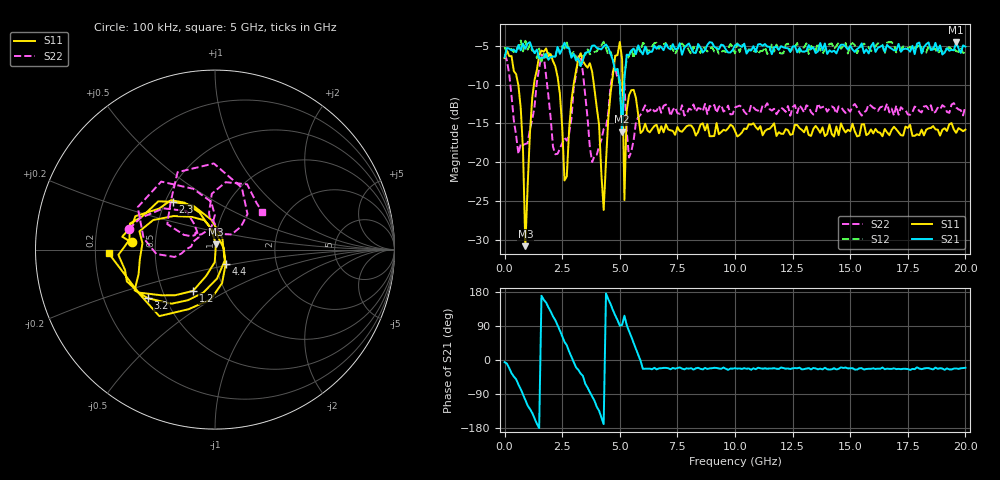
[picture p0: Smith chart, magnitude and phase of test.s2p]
#  HZ  S  RI  R  50.00
! Rohde & Schwarz Vector Network Analyzer
! Rohde-Schwarz,ZNB20-4Port,1311601064100104,2.70
! Created: UTC 10/26/2016, 10:54:18 PM
! freq[Hz]  re:S11  im:S11  re:S21  im:S21  re:S12  im:S12  re:S22  im:S22
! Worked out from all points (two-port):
!   201 points, 100 kHz to 20 GHz, reference 50 ohm
!   highest |S21| = -4.56 dB at 19.6 GHz (marker M1); lowest = -16.0 dB at 5.1 GHz (marker M2)
!   |S21| within 3 dB of the highest: start of sweep to 3.293 GHz; 5.256 GHz to end of sweep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
!   lowest |S11| = -30.7 dB at 900.1 MHz (marker M3), VSWR 1.06, Z = 50.5 + j2.88 ohm
!   |S11| at or under -10 dB: 590.4 MHz to 1.274 GHz (683.7 MHz wide, 73.3 % of centre); 3.874 GHz to 4.648 GHz (773.7 MHz wide, 18.2 % of centre); 5.118 GHz to end of sweep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
!   |S22| runs from -20.0 to -6.1 dB; largest |S21 - S12| = 0.094
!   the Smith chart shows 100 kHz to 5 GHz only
!   S11 on the Smith chart (normalised r, x): 100 kHz: 0.36, +0.04; 1.2 GHz: 0.71, -0.35; 2.3 GHz: 0.55, +0.33; 3.2 GHz: 0.40, -0.28; 4.4 GHz: 1.11, -0.18; 5 GHz: 0.26, -0.02
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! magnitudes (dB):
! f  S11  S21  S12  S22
! 100 kHz  -6.6  -6.5  -5.2  -6.1
! 600.1 MHz  -10.1  -4.9  -5.4  -18.9
! 900.1 MHz  -30.7  -5.4  -4.4  -17.6
! 1.2 GHz  -11.7  -5.4  -5.7  -14.5
! 1.7 GHz  -5.8  -6.5  -6.1  -6.3
! 2.3 GHz  -9.0  -5.2  -5.2  -18.9
! 2.6 GHz  -22.3  -4.6  -5.4  -16.8
! 3.2 GHz  -6.7  -6.6  -7.4  -6.4
! 3.4 GHz  -7.0  -6.8  -6.3  -8.5
! 3.8 GHz  -8.4  -5.0  -6.0  -20.0
! 4.3 GHz  -26.1  -5.1  -4.5  -15.7
! 4.4 GHz  -19.9  -4.9  -5.3  -15.5
! 5 GHz  -4.5  -9.6  -10.3  -9.4
! 5.1 GHz  -6.8  -16.0  -15.1  -10.8
! 5.2 GHz  -24.8  -9.3  -8.7  -9.9
! 5.5 GHz  -10.7  -5.6  -5.5  -18.6
! 6.7 GHz  -16.3  -5.1  -5.4  -12.8
! 10 GHz  -16.0  -5.0  -6.0  -12.9
! 13.4 GHz  -15.7  -5.2  -5.3  -13.9
! 16.7 GHz  -16.5  -5.2  -4.6  -13.6
! 19.6 GHz  -16.2  -4.6  -5.7  -12.9
! 20 GHz  -15.8  -5.1  -5.9  -12.8
